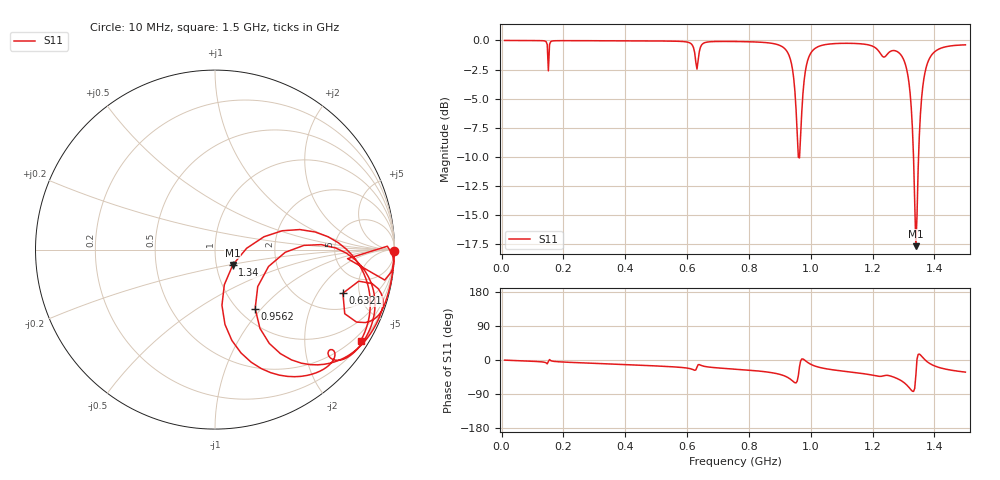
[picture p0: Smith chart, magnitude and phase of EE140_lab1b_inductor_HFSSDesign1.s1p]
! Touchstone file exported from HFSS 2026.1.0
!  File:  C:/Users/017978376/Documents/EE140L/EE140L/lab1b_inductor/EE140_lab1b_inductor.aedt
!  Generated:  05:47:55 PM Nov 11, 2026
!  Design:  HFSSDesign1
!  Project:  EE140_lab1b_inductor
!  Setup:  Setup1
!  Solution:  Sweep
! Variables:
!  er = 4.4
!  h = 1.6mm
!  t = 0.035mm
!  w = 3mm
# GHz S MA R 50.000000
! Terminal data exported
! Port[1] = 1
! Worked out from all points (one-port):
!   401 points, 10 MHz to 1.5 GHz, reference 50 ohm
!   lowest |S11| = -17.7 dB at 1.34 GHz (marker M1), VSWR 1.30, Z = 60 - j10.4 ohm
!   |S11| at or under -10 dB: 959.807 MHz to 963.7863 MHz (3.979 MHz wide, 0.414 % of centre); 1.332 GHz to 1.349 GHz (16.35 MHz wide, 1.22 % of centre)
!   S11 on the Smith chart (normalised r, x): 10 MHz: open; 632.1 MHz: 3.06, -3.43; 956.1 MHz: 1.18, -0.93; 1.34 GHz: 1.20, -0.21; 1.5 GHz: 0.28, -3.47
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0.01  0.9999 -0.3
! Gamma 0 0
! Port Impedance 50 0
0.15155  0.7403 -3.9
0.19625  0.9979 -5.2
0.3825  0.9965 -11.5
0.56875  0.992 -18.8
0.617175  0.9544 -24.6
0.632075  0.753 -18.8
0.654425  0.9749 -16.5
0.755  0.9895 -24.1
0.892825  0.9596 -36.5
0.922625  0.8992 -44.8
0.94125  0.7475 -55.3
0.95615  0.3978 -55.8
0.9636  0.3127 -17.5
0.974775  0.5928 2.7
1.00085  0.8857 -11.7
1.04555  0.959 -22.5
1.1275  0.9719 -31.6
1.265325  0.9046 -44.3
1.31375  0.7111 -68.8
1.32865  0.4207 -82.4
1.339825  0.1306 -40.6
1.347275  0.282 14.7
1.354725  0.4853 13.3
1.369625  0.7315 0.2
1.384525  0.84 -9.1
1.429225  0.9342 -22.9
1.5  0.9574 -32.0
